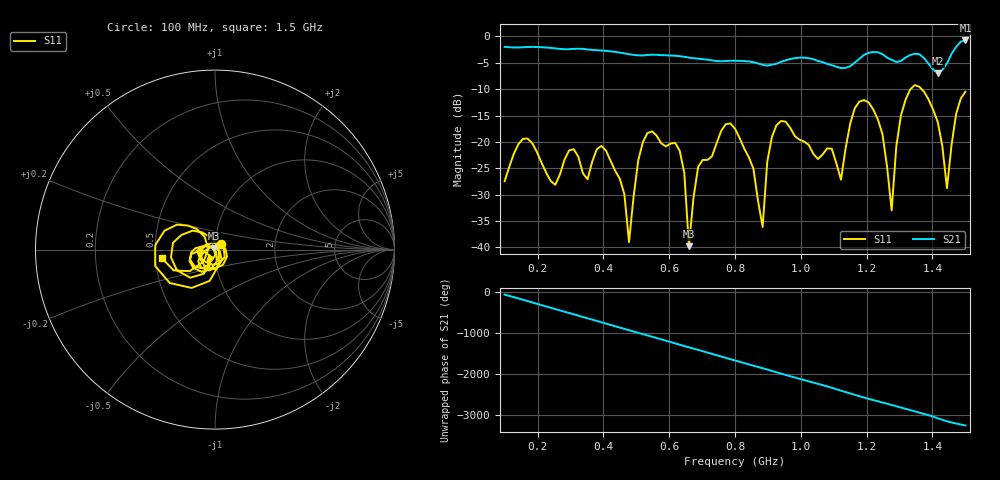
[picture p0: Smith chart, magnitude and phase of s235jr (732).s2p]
! NanoVNA-App
! Date: 2025-09-25 15:09:52
! Start: 100MHz Stop: 1,5GHz Points: 101
! S-Parameter data: F S11 S21 S12 S22
# Hz S RI R 50
!  Frequency  S11_Real  S11_Imag  S21_Real  S21_Imag  S12_Real  S12_Imag  S22_Real  S22_Imag
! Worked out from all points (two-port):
!   101 points, 100 MHz to 1.5 GHz, reference 50 ohm
!   highest |S21| = -0.75 dB at 1.5 GHz (marker M1); lowest = -7.0 dB at 1.416 GHz (marker M2)
!   |S21| within 3 dB of the highest: start of sweep to 634.4 MHz; 1.187 GHz to 1.257 GHz (69.6 MHz wide, 5.7 % of centre) (the widest 2 of 4)
!   lowest |S11| = -39.8 dB at 660 MHz (marker M3), VSWR 1.02, Z = 49.2 + j0.608 ohm
!   |S11| at or under -10 dB: start of sweep to 1.333 GHz; 1.367 GHz to end of sweep
!   S12 and S22 are empty: the file has one direction only
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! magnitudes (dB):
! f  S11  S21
! 100 MHz  -27.5  -2.0
! 156 MHz  -19.4  -2.0
! 338 MHz  -26.0  -2.3
! 408 MHz  -21.6  -2.7
! 478 MHz  -39.0  -3.4
! 520 MHz  -20.1  -3.6
! 576 MHz  -20.3  -3.5
! 632 MHz  -21.7  -3.7
! 660 MHz  -39.8  -4.0
! 688 MHz  -24.7  -4.2
! 800 MHz  -17.5  -4.6
! 884 MHz  -36.1  -5.4
! 926 MHz  -16.8  -5.2
! 1.038 GHz  -22.3  -4.3
! 1.122 GHz  -27.2  -6.0
! 1.206 GHz  -12.5  -3.1
! 1.276 GHz  -33.0  -4.4
! 1.304 GHz  -15.0  -4.7
! 1.332 GHz  -10.1  -3.5
! 1.416 GHz  -16.2  -7.0
! 1.444 GHz  -28.8  -5.1
! 1.5 GHz  -10.5  -0.8
